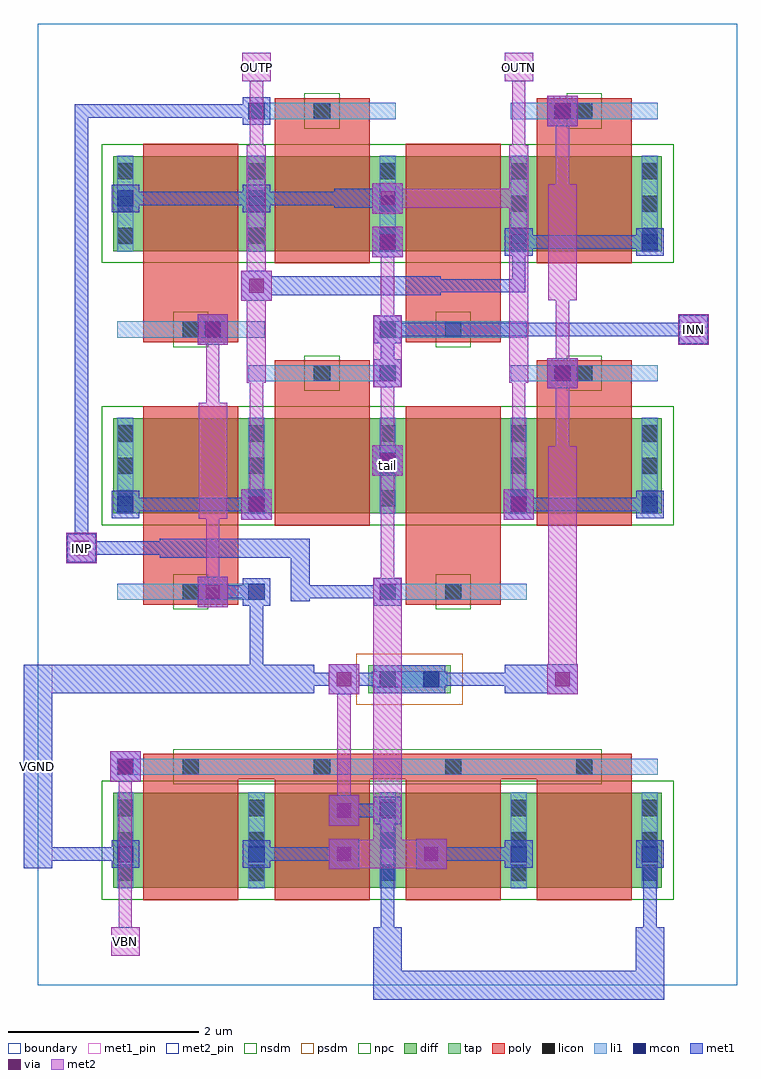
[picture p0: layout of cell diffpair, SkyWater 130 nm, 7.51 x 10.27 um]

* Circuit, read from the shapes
.subckt diffpair INN INP OUTN OUTP VBN VGND tail
XM1 tail VBN VGND VGND sky130_fd_pr__nfet_01v8 w=1 l=1 m=4
XM2 OUTP VGND OUTP VGND sky130_fd_pr__nfet_01v8 w=1 l=1 m=2
XM3 OUTN VGND OUTN VGND sky130_fd_pr__nfet_01v8 w=1 l=1 m=2
XM4 tail INN OUTP VGND sky130_fd_pr__nfet_01v8 w=1 l=1 m=2
XM5 tail INP OUTN VGND sky130_fd_pr__nfet_01v8 w=1 l=1 m=2
.ends

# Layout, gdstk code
import gdstk
lib = gdstk.Library(unit=1e-6, precision=1e-09)
def R(c, l, rs):  # rectangles x0, y0, x1, y1
    for r in rs: c.add(gdstk.rectangle(r[:2], r[2:], *l))
def A(c, l, x, y, w, h, nx, ny, dx, dy):  # array of equal rectangles
    R(c, l, [(x+i*dx, y+j*dy, x+i*dx+w, y+j*dy+h) for i in range(nx) for j in range(ny)])
diff = (65, 20)
tap = (65, 44)
poly = (66, 20)
licon = (66, 44)
li1 = (67, 20)
mcon = (67, 44)
met1_pin = (68, 16)
met1 = (68, 20)
via = (68, 44)
met2_pin = (69, 16)
met2 = (69, 20)
nsdm = (93, 44)
psdm = (94, 20)
npc = (95, 20)
boundary = (235, 4)

diffpair = lib.new_cell('diffpair')
R(diffpair, diff, [(0.795,1.025,6.565,2.025), (0.795,4.965,6.565,5.965), (0.795,7.725,6.565,8.725)])
R(diffpair, tap, [(3.475,3.075,4.345,3.365)])
A(diffpair, poly, 1.11, 0.895, 1, 1.405, 4, 1, 1.38, 0)
R(diffpair, poly, [(1.11,2.165,6.25,2.435), (1.11,4.005,2.11,4.275), (3.87,4.005,4.87,4.275), (1.11,4.14,2.11,6.095), (3.87,4.14,4.87,6.095), (2.49,4.835,3.49,6.44), (5.25,4.835,6.25,6.44), (2.49,6.305,3.49,6.575), (5.25,6.305,6.25,6.575), (1.11,6.765,2.11,7.035), (3.87,6.765,4.87,7.035), (1.11,6.9,2.11,8.855), (3.87,6.9,4.87,8.855), (2.49,7.595,3.49,9.2), (5.25,7.595,6.25,9.2), (2.49,9.065,3.49,9.335), (5.25,9.065,6.25,9.335)])
A(diffpair, licon, 0.835, 1.1, 0.17, 0.17, 5, 3, 1.38, 0.34)
A(diffpair, licon, 1.525, 2.215, 0.17, 0.17, 4, 1, 1.38, 0)
A(diffpair, licon, 0.835, 5.04, 0.17, 0.17, 5, 3, 1.38, 0.34)
A(diffpair, licon, 0.835, 7.8, 0.17, 0.17, 5, 3, 1.38, 0.34)
R(diffpair, licon, [(3.595,3.135,3.765,3.305), (4.055,3.135,4.225,3.305), (1.525,4.055,1.695,4.225), (4.285,4.055,4.455,4.225), (2.905,6.355,3.075,6.525), (5.665,6.355,5.835,6.525), (1.525,6.815,1.695,6.985), (4.285,6.815,4.455,6.985), (2.905,9.115,3.075,9.285), (5.665,9.115,5.835,9.285)])
A(diffpair, li1, 0.835, 1.02, 0.17, 1.01, 5, 2, 1.38, 3.94)
A(diffpair, li1, 0.835, 7.72, 0.17, 1.01, 5, 1, 1.38, 0)
R(diffpair, li1, [(0.835,2.215,6.525,2.385), (3.515,3.135,4.305,3.305), (0.835,4.055,2.385,4.225), (3.595,4.055,5.145,4.225), (2.215,6.355,3.765,6.525), (4.975,6.355,6.525,6.525), (0.835,6.815,2.385,6.985), (3.595,6.815,5.145,6.985), (2.215,9.115,3.765,9.285), (4.975,9.115,6.525,9.285)])
A(diffpair, mcon, 3.595, 7.735, 0.17, 0.17, 3, 1, 1.38, 0)
R(diffpair, mcon, [(0.835,1.295,1.005,1.465), (2.215,1.295,2.385,1.465), (4.975,1.295,5.145,1.465), (6.355,1.295,6.525,1.465), (3.595,1.755,3.765,1.925), (0.835,2.215,1.005,2.385), (3.595,3.135,3.765,3.305), (4.055,3.135,4.225,3.305), (2.215,4.055,2.385,4.225), (3.595,4.055,3.765,4.225), (0.835,4.975,1.005,5.145), (2.215,4.975,2.385,5.145), (4.975,4.975,5.145,5.145), (6.355,4.975,6.525,5.145), (3.595,5.435,3.765,5.605), (3.595,6.355,3.765,6.525), (5.435,6.355,5.605,6.525), (1.755,6.815,1.925,6.985), (3.595,6.815,3.765,6.985), (0.835,8.195,1.005,8.365), (2.215,8.195,2.385,8.365), (2.215,9.115,2.385,9.285), (5.435,9.115,5.605,9.285)])
R(diffpair, met1_pin, [(-0.15,1.23,0.15,3.37)])
A(diffpair, met1, 3.535, 7.675, 0.29, 0.29, 3, 1, 1.38, 0)
R(diffpair, met1, [(3.53,-0.15,3.83,0.61), (3.53,-0.15,6.59,0.15), (6.29,-0.15,6.59,0.61), (3.61,0.39,3.75,1.91), (6.37,0.39,6.51,1.45), (3.06,1.22,3.38,1.54), (3.98,1.22,4.3,1.54), (-0.15,1.23,0.15,3.37), (0.775,1.235,1.065,1.525), (2.155,1.235,2.445,1.525), (4.915,1.235,5.205,1.525), (6.295,1.235,6.585,1.525), (-0.07,1.31,0.99,1.45), (2.23,1.31,3.29,1.45), (4.07,1.31,5.13,1.45), (3.06,1.68,3.38,2), (3.535,1.695,3.825,1.985), (3.15,1.77,3.75,1.91), (0.76,2.14,1.08,2.46), (0.775,2.155,1.065,2.445), (3.06,3.06,3.38,3.38), (5.36,3.06,5.68,3.38), (-0.15,3.07,2.45,3.37), (2.15,3.07,2.91,3.37), (4.91,3.07,5.67,3.37), (3.535,3.075,4.285,3.365), (2.23,3.15,2.37,4.21), (2.69,3.15,3.75,3.29), (3.61,3.15,5.13,3.29), (3.61,3.15,3.75,3.29), (1.68,3.98,2,4.3), (2.155,3.995,2.445,4.285), (3.535,3.995,3.825,4.285), (2.66,4.04,2.86,4.7), (1.77,4.07,2.37,4.21), (2.69,4.07,3.75,4.21), (0.3,4.44,0.62,4.76), (1.28,4.5,2.86,4.7), (0.39,4.53,1.45,4.67), (0.39,4.53,0.53,9.27), (2.14,4.9,2.46,5.22), (4.9,4.9,5.22,5.22), (0.775,4.915,1.065,5.205), (2.155,4.915,2.445,5.205), (4.915,4.915,5.205,5.205), (6.295,4.915,6.585,5.205), (0.85,4.99,2.37,5.13), (4.99,4.99,6.51,5.13), (3.52,5.36,3.84,5.68), (3.535,5.375,3.825,5.665), (5.36,6.28,5.68,6.6), (3.535,6.295,3.825,6.585), (5.375,6.295,5.665,6.585), (3.61,6.37,3.75,6.97), (1.68,6.74,2,7.06), (6.74,6.74,7.06,7.06), (1.695,6.755,1.985,7.045), (3.535,6.755,3.825,7.045), (3.61,6.83,6.97,6.97), (2.14,7.2,2.46,7.52), (2.2,7.26,4.24,7.46), (4.07,7.29,5.13,7.43), (4.99,7.29,5.13,7.89), (3.52,7.66,3.84,7.98), (4.99,7.75,6.51,7.89), (3.52,8.12,3.84,8.44), (0.775,8.135,1.065,8.425), (2.155,8.135,2.445,8.425), (3.12,8.18,3.78,8.38), (0.85,8.21,2.37,8.35), (2.23,8.21,3.29,8.35), (5.36,9.04,5.68,9.36), (2.155,9.055,2.445,9.345), (5.375,9.055,5.665,9.345), (0.39,9.13,2.37,9.27)])
R(diffpair, via, [(3.145,1.305,3.295,1.455), (4.065,1.305,4.215,1.455), (3.145,1.765,3.295,1.915), (0.845,2.225,0.995,2.375), (3.145,3.145,3.295,3.295), (5.445,3.145,5.595,3.295), (1.765,4.065,1.915,4.215), (0.385,4.525,0.535,4.675), (2.225,4.985,2.375,5.135), (4.985,4.985,5.135,5.135), (3.605,5.445,3.755,5.595), (5.445,6.365,5.595,6.515), (1.765,6.825,1.915,6.975), (6.825,6.825,6.975,6.975), (2.225,7.285,2.375,7.435), (3.605,7.745,3.755,7.895), (3.605,8.205,3.755,8.355), (5.445,9.125,5.595,9.275)])
R(diffpair, met2_pin, [(0.77,0.31,1.07,0.61), (0.31,4.45,0.61,4.75), (6.75,6.75,7.05,7.05), (2.15,9.51,2.45,9.81), (4.91,9.51,5.21,9.81)])
R(diffpair, met2, [(0.77,0.31,1.07,0.61), (0.85,0.39,0.99,0.53), (0.85,0.39,0.99,2.37), (3.06,1.22,3.38,1.54), (3.98,1.22,4.3,1.54), (3.07,1.23,3.83,1.53), (3.53,1.23,3.83,4.29), (3.53,1.23,4.29,1.53), (3.06,1.68,3.38,2), (3.15,1.77,3.29,3.29), (0.76,2.14,1.08,2.46), (3.06,3.06,3.38,3.38), (5.36,3.06,5.68,3.38), (5.37,3.07,5.67,5.67), (1.68,3.98,2,4.3), (1.77,4.07,1.91,5.13), (3.61,4.07,3.75,5.59), (0.3,4.44,0.62,4.76), (0.31,4.45,0.61,4.75), (0.39,4.53,0.53,4.67), (2.14,4.9,2.46,5.22), (4.9,4.9,5.22,5.22), (1.69,4.91,1.99,6.13), (2.23,4.99,2.37,6.51), (4.99,4.99,5.13,6.51), (3.52,5.36,3.84,5.68), (3.61,5.45,3.75,6.51), (5.45,5.45,5.59,6.51), (1.77,5.91,1.91,6.97), (5.36,6.28,5.68,6.6), (3.53,6.29,3.83,7.05), (2.2,6.34,2.4,8.84), (4.96,6.34,5.16,8.84), (5.45,6.37,5.59,7.43), (1.68,6.74,2,7.06), (6.74,6.74,7.06,7.06), (6.75,6.75,7.05,7.05), (3.61,6.83,3.75,7.89), (6.83,6.83,6.97,6.97), (2.14,7.2,2.46,7.52), (5.37,7.21,5.67,8.43), (3.52,7.66,3.84,7.98), (3.52,8.12,3.84,8.44), (3.58,8.18,5.16,8.38), (5.45,8.21,5.59,9.27), (2.23,8.67,2.37,9.73), (4.99,8.67,5.13,9.73), (5.36,9.04,5.68,9.36), (2.15,9.51,2.45,9.81), (4.91,9.51,5.21,9.81), (2.23,9.59,2.37,9.73), (4.99,9.59,5.13,9.73)])
R(diffpair, nsdm, [(0.67,0.9,6.69,2.15), (0.67,4.84,6.69,6.09), (0.67,7.6,6.69,8.85)])
R(diffpair, psdm, [(3.35,2.95,4.47,3.49)])
R(diffpair, npc, [(1.425,2.115,5.935,2.485), (1.425,3.955,1.795,4.325), (4.185,3.955,4.555,4.325), (2.805,6.255,3.175,6.625), (5.565,6.255,5.935,6.625), (1.425,6.715,1.795,7.085), (4.185,6.715,4.555,7.085), (2.805,9.015,3.175,9.385), (5.565,9.015,5.935,9.385)])
R(diffpair, boundary, [(0,0,7.36,10.12)])
diffpair.add(gdstk.Label('tail', (3.68,5.465), layer=67, texttype=5))
diffpair.add(gdstk.Label('VGND', (0,2.3), layer=68, texttype=5))
diffpair.add(gdstk.Label('INP', (0.46,4.6), layer=69, texttype=5))
diffpair.add(gdstk.Label('INN', (6.9,6.9), layer=69, texttype=5))
diffpair.add(gdstk.Label('VBN', (0.92,0.46), layer=69, texttype=5))
diffpair.add(gdstk.Label('OUTP', (2.3,9.66), layer=69, texttype=5))
diffpair.add(gdstk.Label('OUTN', (5.06,9.66), layer=69, texttype=5))
diffpair.add(gdstk.Label('VGND', (0,2.3), layer=68, texttype=16))
diffpair.add(gdstk.Label('INP', (0.46,4.6), layer=69, texttype=16))
diffpair.add(gdstk.Label('INN', (6.9,6.9), layer=69, texttype=16))
diffpair.add(gdstk.Label('VBN', (0.92,0.46), layer=69, texttype=16))
diffpair.add(gdstk.Label('OUTP', (2.3,9.66), layer=69, texttype=16))
diffpair.add(gdstk.Label('OUTN', (5.06,9.66), layer=69, texttype=16))

lib.write_gds('diffpair.gds')
